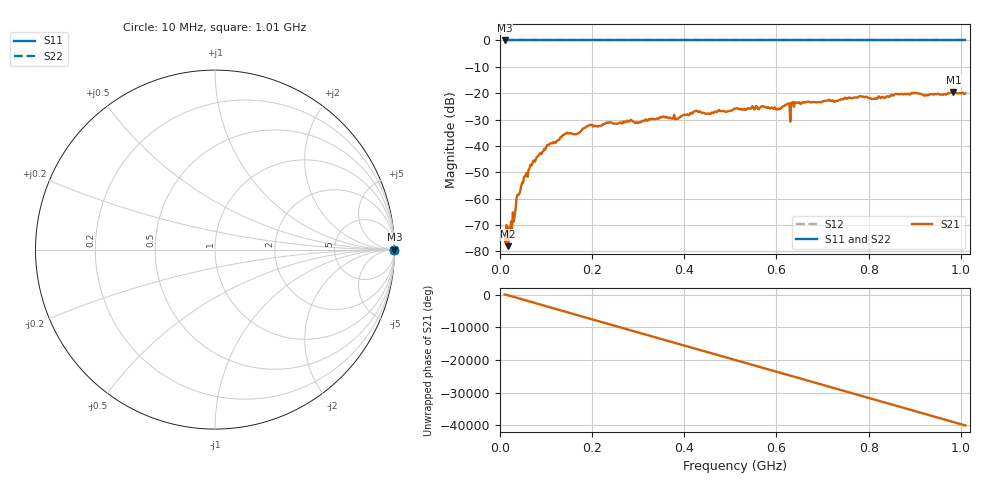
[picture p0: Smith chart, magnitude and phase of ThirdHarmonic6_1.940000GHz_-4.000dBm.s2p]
! 8/16/2025 11:22:08 PM
! C:\ANRITSUVNA\TEMP\TEMP.S2P
! CHANNEL.1
! TR.MEASUREMENT
! RAW.DATA
! RF.CORRECTION.OFF
! AVERAGING.OFF
! IF.BANDWIDTH: 5KHZ
! SWEEPTYPE:  FREQ.SWEEP(Linear)
! Reference Plane Port Info
! PORT:  PORT1  PORT2
! DISTANCE:  0  m  0  m
! TIME:  0  s  0  s
! PHASE.OFFSET:  0  deg.  0  deg.
! LOSS:  0  dB  0  dB
! REF.LOSS:  0  dB  0  dB
! REF.FREQ:  0  Hz  0  Hz
! Power Info
! POWER:  -20  dBm  -20  dBm
! EFF.POWER:  -20  dBm  -20  dBm
! SOURCE.ATTEN:  0  dB  0  dB
! TEST.ATTEN:  0  dB  0  dB
# GHZ S RI R 50.0
! FREQ.GHZ  S11RE  S11IM  S21RE  S21IM  S12RE  S12IM  S22RE  S22IM
!; PortSelection: Port_12
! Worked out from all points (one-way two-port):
!   501 points, 10 MHz to 1.01 GHz, reference 50 ohm
!   highest |S21| = -19.71 dB at 984 MHz (marker M1); lowest = -78.0 dB at 18 MHz (marker M2)
!   lowest |S11| = 0.0 dB at 10 MHz (marker M3)
!   |S11| at or under -10 dB: nowhere
!   |S22| runs from 0.0 to 0.0 dB; largest |S21 - S12| = 1.1
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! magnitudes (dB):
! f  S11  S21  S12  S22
! 10 MHz  0.0  -74.8  0.0  0.0
! 18 MHz  0.0  -78.0  0.0  0.0
! 22 MHz  0.0  -72.7  0.0  0.0
! 38 MHz  0.0  -58.5  0.0  0.0
! 50 MHz  0.0  -54.0  0.0  0.0
! 70 MHz  0.0  -47.0  0.0  0.0
! 106 MHz  0.0  -39.7  0.0  0.0
! 142 MHz  0.0  -35.4  0.0  0.0
! 178 MHz  0.0  -33.9  0.0  0.0
! 196 MHz  0.0  -32.0  0.0  0.0
! 344 MHz  0.0  -29.7  0.0  0.0
! 384 MHz  0.0  -29.7  0.0  0.0
! 424 MHz  0.0  -26.9  0.0  0.0
! 510 MHz  0.0  -25.9  0.0  0.0
! 604 MHz  0.0  -25.8  0.0  0.0
! 624 MHz  0.0  -24.0  0.0  0.0
! 634 MHz  0.0  -23.5  0.0  0.0
! 636 MHz  0.0  -23.3  0.0  0.0
! 678 MHz  0.0  -23.3  0.0  0.0
! 844 MHz  0.0  -21.4  0.0  0.0
! 984 MHz  0.0  -19.7  0.0  0.0
! 1.01 GHz  0.0  -20.1  0.0  0.0
